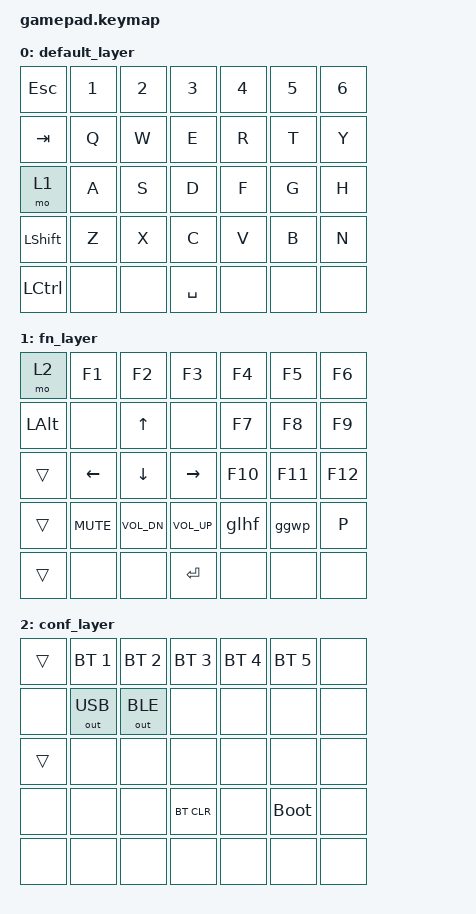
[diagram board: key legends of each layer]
/*
 * Copyright (c) 2020 The ZMK Contributors
 *
 * SPDX-License-Identifier: MIT
 */

#include <behaviors.dtsi>
#include <dt-bindings/zmk/keys.h>
#include <dt-bindings/zmk/bt.h>
#include <dt-bindings/zmk/outputs.h>

/ {
    macros {
        ZMK_MACRO(glhf,
            wait-ms = <30>;
            tap-ms = <30>;
            bindings = <&kp F8>, <&kp G &kp L &kp H &kp F &kp ENTER>;
        )

        ZMK_MACRO(ggwp,
            wait-ms = <30>;
            tap-ms = <30>;
            bindings = <&kp F8>, <&kp G &kp G &kp SPACE &kp W &kp P &kp ENTER>;
        )
    };

    keymap {
        compatible = "zmk,keymap";

        default_layer {
            bindings = <
                &kp ESC    &kp N1  &kp N2  &kp N3     &kp N4  &kp N5  &kp N6
                &kp TAB    &kp Q   &kp W   &kp E      &kp R   &kp T   &kp Y
                &mo 1      &kp A   &kp S   &kp D      &kp F   &kp G   &kp H
                &kp LSHFT  &kp Z   &kp X   &kp C      &kp V   &kp B   &kp N
                &kp LCTRL  &none   &none   &kp SPACE  &none   &none   &none
            >;
        };

        fn_layer {
            bindings = <
                &mo 2     &kp F1      &kp F2        &kp F3        &kp F4   &kp F5   &kp F6
                &kp LALT  &none       &kp UP        &none         &kp F7   &kp F8   &kp F9
                &trans    &kp LEFT    &kp DOWN      &kp RIGHT     &kp F10  &kp F11  &kp F12
                &trans    &kp C_MUTE  &kp C_VOL_DN  &kp C_VOL_UP  &glhf    &ggwp    &kp P
                &trans    &none       &none         &kp ENTER     &none    &none    &none
            >;
        };

        conf_layer {
            bindings = <
                &trans  &bt BT_SEL 1  &bt BT_SEL 2  &bt BT_SEL 3  &bt BT_SEL 4  &bt BT_SEL 5  &none
                &none   &out OUT_USB  &out OUT_BLE  &none         &none         &none         &none
                &trans  &none         &none         &none         &none         &none         &none
                &none   &none         &none         &bt BT_CLR    &none         &bootloader   &none
                &none   &none         &none         &none         &none         &none         &none
            >;
        };
    };
};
